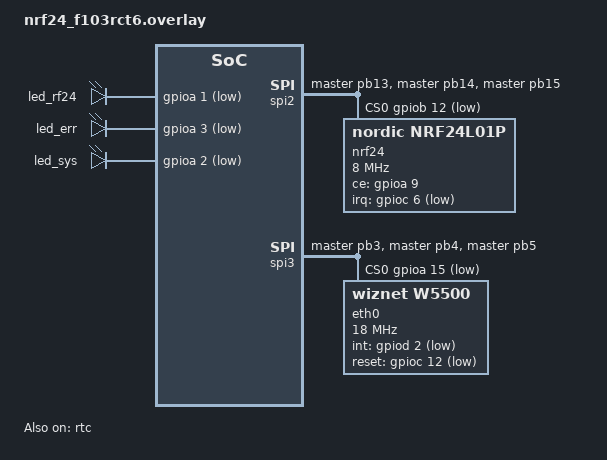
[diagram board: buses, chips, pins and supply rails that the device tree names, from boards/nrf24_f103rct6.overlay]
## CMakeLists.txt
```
# SPDX-License-Identifier: Apache-2.0

cmake_minimum_required(VERSION 3.20.0)

find_package(Zephyr REQUIRED HINTS $ENV{ZEPHYR_BASE})
project(gateway)

target_include_directories(app PRIVATE include)
target_sources(app PRIVATE
  src/main.c
  src/rf24.c
  src/rf24_shell.c
  src/net_shell.c
  src/config.c
  src/persist.c
  src/udp.c
  src/led.c
)
```

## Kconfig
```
# SPDX-License-Identifier: Apache-2.0
# Gateway application configuration

mainmenu "gateway"

source "Kconfig.zephyr"

config GATEWAY_RF24_RX_STACK
	int "RF24 RX thread stack size"
	default 1024

config GATEWAY_RF24_RX_PRIORITY
	int "RF24 RX thread priority"
	default 8

config GATEWAY_DATA_RX_STACK
	int "UDP data RX thread stack size"
	default 1024

config GATEWAY_DATA_RX_PRIORITY
	int "UDP data RX thread priority"
	default 10

config GATEWAY_UDP_INIT_PRIORITY
	int "UDP app handler init priority (must run before udp_fw_upgrade lib)"
	default 80

config GATEWAY_LED_STACK
	int "LED status thread stack size"
	default 512

config GATEWAY_LED_PRIORITY
	int "LED status thread priority (lowest, do not preempt business threads)"
	default 14
```

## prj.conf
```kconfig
CONFIG_MAIN_STACK_SIZE=2048
CONFIG_SHELL=y
CONFIG_SERIAL=y
CONFIG_GPIO=y
CONFIG_LOG=y
CONFIG_LOG_DEFAULT_LEVEL=3
CONFIG_LOG_BUFFER_SIZE=4096
CONFIG_LOG_BLOCK_IN_THREAD=y

# 软件栈溢出检测 (Cortex-M3 无 SPLIM, 板级未开 ARM_MPU, 故 HW_STACK_PROTECTION
# 无效; STACK_SENTINEL 在线程栈底埋 magic, 上下文切换/中断退出时检查,
# 踩踏 → K_ERR_STACK_CHK_FAIL → 点亮 PA2 错误灯)
CONFIG_STACK_SENTINEL=y

# SPI + nRF24L01P
CONFIG_SPI=y
CONFIG_NRF24L01P=y

# nRF24 链路层 XXTEA-CTR 加密 (用 rf24 地址作密钥; 须与 mod_handler 同时开关)
CONFIG_NRF24L01P_CRYPT=n

# SPI Flash (MCUBoot)
CONFIG_FLASH=y
CONFIG_SPI_NOR_SFDP_MINIMAL=n
CONFIG_SPI_NOR_FLASH_LAYOUT_PAGE_SIZE=4096
CONFIG_FLASH_MAP=y
CONFIG_IMG_MANAGER=y
CONFIG_STREAM_FLASH=y
CONFIG_REBOOT=y

# CRC
CONFIG_CRC=y

# UDP firmware upgrade library (self-contained: owns config port 8600)
CONFIG_UDP_FW_UPGRADE=y
CONFIG_UDP_FW_RX_STACK_SIZE=1536

# Settings persistent storage
CONFIG_SETTINGS=y
CONFIG_SETTINGS_RUNTIME=y
CONFIG_FCB=y

# Networking
CONFIG_NETWORKING=y
CONFIG_NET_IPV4=y
CONFIG_NET_UDP=y
CONFIG_NET_SOCKETS=y
CONFIG_POSIX_API=y
CONFIG_NET_L2_ETHERNET=y
CONFIG_NET_ARP=y
CONFIG_NET_MGMT=y         /* 网络管理子系统; NET_MGMT_EVENT depends on 它 (非 select, 必须显式开) */
CONFIG_NET_MGMT_EVENT=y   /* 网络事件回调 (NET_EVENT_IF_UP 等) */
CONFIG_NET_DHCPV4=y       /* DHCP 客户端 (静态/DHCP 模式切换) */
# 网络缓冲精简: gateway 仅 2 个 UDP socket (config 8600 + data 9600), 载荷小
# (nRF24 帧 ≤60B; 固件升级单包 512B). Ethernet 默认值 (14/14/36/36) 面向高吞吐
# 多连接, 对本应用严重过量, 精简以节省约 9KB RAM.
CONFIG_NET_PKT_RX_COUNT=4
CONFIG_NET_PKT_TX_COUNT=4
CONFIG_NET_BUF_RX_COUNT=8
CONFIG_NET_BUF_TX_COUNT=8
# 固件升级 512B 包需 4 个 buf, 8 个够; DATA_SIZE 保持默认 128
CONFIG_NET_BUF_DATA_SIZE=128
# 2 socket + DHCP 占 1, 4 足够
CONFIG_NET_MAX_CONN=4
CONFIG_TEST_RANDOM_GENERATOR=y

# hwinfo: 读 STM32 96-bit UID 派生 W5500 唯一 MAC (HWINFO_STM32 默认随 SOC 自动启用)
CONFIG_HWINFO=y
# 启用 ethernet net_mgmt (运行时 SET_MAC_ADDRESS 覆盖设备树 MAC)
CONFIG_NET_L2_ETHERNET_MGMT=y
# 关闭 ethernet 接口自动 up: net_if_post_init 不会自动拉起接口, 使 main 在
# net_if_up 之前处于 admin down, SET_MAC_ADDRESS 才能成功 (否则返回 -EACCES).
# 之后由 main 的 net_init() 手动 net_if_up.
CONFIG_ETH_NET_IF_NO_AUTO_START=y
```

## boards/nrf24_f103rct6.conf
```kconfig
# Gateway board config for nrf24_f103rct6
#
# 此文件不可删除: Zephyr kconfig 阶段要求 app-local board 配置文件与
# boards/nrf24_f103rct6.overlay 配对存在 (内容可为空, 此处仅注释)。
# 网络/RF24 等配置由 Kconfig (CONFIG_GW_NETWORKING) 与 snippet (gateway_eth) 管理。
```

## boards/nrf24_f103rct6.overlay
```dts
/*
 * Gateway board overlay for nrf24_f103rct6
 *
 * 硬件: nRF24L01+ (SPI2) <-> W5500 以太网 (SPI3)
 * nRF24 收到的数据通过 W5500 UDP 转发给上位机。
 */

/ {
	chosen {
		zephyr,ethernet = &eth0;
		zephyr,settings-partition = &cfg_partition;
	};

	aliases {
		led-rf24 = &led_rf24;   /* PA1: 2.4G 状态灯 (低电平亮) */
		led-err  = &led_err;    /* PA3: 错误灯 (低电平亮) */
		led-sys  = &led_sys;    /* PA2: 系统灯 (低电平亮) */
	};

	gpio_leds: leds {
		compatible = "gpio-leds";
		led_rf24: led-rf24 {
			gpios = <&gpioa 1 GPIO_ACTIVE_LOW>;
		};
		led_err: led-err {
			gpios = <&gpioa 3 GPIO_ACTIVE_LOW>;
		};
		led_sys: led-sys {
			gpios = <&gpioa 2 GPIO_ACTIVE_LOW>;
		};
	};
};

/* ================================================================
 * SPI2: nRF24L01P (SCK=PB13, MISO=PB14, MOSI=PB15, CS=PB12)
 * CE=PA9, IRQ=PC6
 * ================================================================ */
&spi2 {
	pinctrl-0 = <&spi2_sck_master_pb13
		     &spi2_miso_master_pb14
		     &spi2_mosi_master_pb15>;
	pinctrl-names = "default";
	cs-gpios = <&gpiob 12 GPIO_ACTIVE_LOW>;    /* nRF24 CS */
	status = "okay";

	nrf24: nrf24l01p@0 {
		compatible = "nordic,nrf24l01p";
		reg = <0x0>;
		spi-max-frequency = <8000000>;
		ce-gpios = <&gpioa 9 GPIO_ACTIVE_HIGH>;
		irq-gpios = <&gpioc 6 GPIO_ACTIVE_LOW>;
		channel = <1>;
		data-rate = "1m";
		tx-power = "0dbm";
		/* 半双工冲突优化: 缩短单次 TX 最坏占用 (ARD×ARC), 让冲突后更快切回
		 * PRX 给对端 ACK 机会. ARD=1500us + ARC=9 → 最坏 ~13.5ms (默认 4ms×15=60ms). */
		ard-us = <1500>;
		arc = <9>;
	};
};

&pinctrl {
	swj-cfg = "jtag-disable";
};
/* ================================================================
 * SPI3: W5500 以太网 (SCK=PB3, MISO=PB4, MOSI=PB5, CS=PA15)
 * INT=PD2, RST=PC12
 * 注: PB3/PB4/PA15 是 JTAG 引脚, Zephyr pinctrl 使用 SPI3_REMAP0 时
 *     自动设置 AFIO_MAPR_SWJ_CFG 释放 JTAG (保留 SWD)。
 * ================================================================ */
&spi3 {
	pinctrl-0 = <&spi3_sck_master_pb3
		     &spi3_miso_master_pb4
		     &spi3_mosi_master_pb5>;
	pinctrl-names = "default";
	cs-gpios = <&gpioa 15 GPIO_ACTIVE_LOW>;    /* W5500 CS */
	status = "okay";

	eth0: w5500@0 {
		compatible = "wiznet,w5500";
		reg = <0x0>;
		spi-max-frequency = <18000000>;
		int-gpios = <&gpiod 2 GPIO_ACTIVE_LOW>;
		reset-gpios = <&gpioc 12 GPIO_ACTIVE_LOW>;
		local-mac-address = [00 08 DC 01 02 03];
		status = "okay";
	};
};

/* ================================================================
 * RTC
 * ================================================================ */
&rtc {
	clocks = <&rcc STM32_CLOCK_BUS_APB1 0x10000000>,
		 <&rcc STM32_SRC_LSI RTC_SEL(2)>;
	status = "okay";
};
```

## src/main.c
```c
/*
 * Copyright (c) 2026 Kabirz.
 * SPDX-License-Identifier: Apache-2.0
 *
 * Gateway 主入口 - 数据中转网关
 * 接收 mod_handler 的 nRF24 数据，通过 W5500 UDP 转发给上位机
 */

#include <string.h>
#include <zephyr/kernel.h>
#include <zephyr/device.h>
#include <zephyr/settings/settings.h>
#include <gateway.h>
#include <zephyr/app_version.h>
#include <fw_gitver.h>
#include <zephyr/net/net_if.h>
#include <zephyr/net/socket.h>
#include <zephyr/net/net_mgmt.h>
#include <zephyr/net/net_event.h>
#include <zephyr/net/ethernet.h>
#include <zephyr/net/ethernet_mgmt.h>
#include <zephyr/net/dhcpv4.h>
#include <zephyr/drivers/hwinfo.h>
#ifndef CONFIG_FLASH_SIZE
#define CONFIG_FLASH_SIZE 0x1000
#endif

#include <zephyr/logging/log.h>
LOG_MODULE_REGISTER(gateway, LOG_LEVEL_INF);

gateway_params_t gw_params;

/* ================================================================
 * 网络链路就绪事件
 * ================================================================
 * W5500 驱动在 PHY 检测到载波 (PHYCFGR.LNK) 后调 net_eth_carrier_on →
 * net_if_carrier_on (置 NET_IF_LOWER_UP) → update_operational_state: 接口
 * admin up 且 carrier ok 时 oper state → UP → notify_iface_up 发出
 * NET_EVENT_IF_UP. 此处用信号量捕获该事件, 替代原先固定 k_msleep(500) 的盲
 * 等待 (PHY 自动协商耗时不定, 网线未插时延时更毫无意义).
 * ================================================================ */
static K_SEM_DEFINE(net_link_sem, 0, 1);

/* 网络链路状态: IF_UP 置 true, IF_DOWN 置 false. gw_udp_send 据此决定是否转发. */
volatile bool gw_net_link_up;

/* 网络事件回调 (静态注册, 编译时进 section, 不受运行时注册时序影响).
 * 注意: Zephyr net_mgmt 的 mask 匹配按 layer 精确相等, 不同 layer 的事件
 * (IF_UP=L2, IPV4_ADDR_ADD=L3) 不能 OR 在同一个 mask 里, 否则全部匹配失败.
 * 故分成两个独立 handler 注册. IF_UP/IF_DOWN 同 layer 可共用一个. */

/* IF_UP/IF_DOWN: carrier 状态变化 → 唤醒 main + 启动 DHCP + 维护 gw_net_link_up. */
static void net_if_event_handler(uint64_t mgmt_event, struct net_if *iface,
				 void *info, size_t info_length, void *user_data)
{
	ARG_UNUSED(info);
	ARG_UNUSED(info_length);
	ARG_UNUSED(user_data);

	if (mgmt_event == NET_EVENT_IF_UP) {
		LOG_INF("net link up");
		gw_net_link_up = true;
		k_sem_give(&net_link_sem);
		/* DHCP 模式: carrier up 后才启动 DHCP 客户端 (启动早了 Discover 发不出) */
		if (gw_params.use_dhcp) {
			LOG_INF("Starting DHCPv4 client...");
			net_dhcpv4_start(iface);
		}
	} else if (mgmt_event == NET_EVENT_IF_DOWN) {
		LOG_WRN("net link down");
		gw_net_link_up = false;
	}
}

/* ADDR_ADD: IPv4 地址分配完成 → 打印 IP/掩码/网关 (DHCP 模式额外打印租期). */
static void net_ipv4_event_handler(uint64_t mgmt_event, struct net_if *iface,
				   void *info, size_t info_length, void *user_data)
{
	ARG_UNUSED(info);
	ARG_UNUSED(info_length);
	ARG_UNUSED(user_data);

	if (mgmt_event != NET_EVENT_IPV4_ADDR_ADD) {
		return;
	}
	for (int i = 0; i < NET_IF_MAX_IPV4_ADDR; i++) {
		if (iface->config.ip.ipv4->unicast[i].ipv4.addr_type !=
		    NET_ADDR_DHCP && iface->config.ip.ipv4->unicast[i].ipv4.addr_type !=
		    NET_ADDR_MANUAL) {
			continue;
		}
		char buf[NET_IPV4_ADDR_LEN];

		net_addr_ntop(AF_INET,
			      &iface->config.ip.ipv4->unicast[i].ipv4.address.in_addr,
			      buf, sizeof(buf));
		LOG_INF("IPv4 address: %s", buf);
		net_addr_ntop(AF_INET, &iface->config.ip.ipv4->unicast[i].netmask,
			      buf, sizeof(buf));
		LOG_INF("IPv4 netmask: %s", buf);
		net_addr_ntop(AF_INET, &iface->config.ip.ipv4->gw, buf, sizeof(buf));
		LOG_INF("IPv4 gateway: %s", buf);
		if (iface->config.ip.ipv4->unicast[i].ipv4.addr_type == NET_ADDR_DHCP) {
			LOG_INF("DHCP lease time: %u seconds", iface->config.dhcpv4.lease_time);
		}
		break;
	}
}

NET_MGMT_REGISTER_EVENT_HANDLER(net_if_handler_cb,
				NET_EVENT_IF_UP | NET_EVENT_IF_DOWN,
				net_if_event_handler, NULL);
NET_MGMT_REGISTER_EVENT_HANDLER(net_ipv4_handler_cb, NET_EVENT_IPV4_ADDR_ADD,
				net_ipv4_event_handler, NULL);

/* ================================================================
 * MAC 派生: 用 STM32 96-bit UID 生成唯一 MAC, 覆盖设备树默认值
 * ================================================================
 * 设备树 local-mac-address 是固定值 (00:08:DC:01:02:03), 同型号多块板会冲突.
 * 这里前 3B 沿用 Wiznet OUI (00:08:DC), 末 3B 由 hwinfo 读出的 12B UID 折叠
 * 而来, 保证每块板有不同 MAC. SET_MAC_ADDRESS 要求接口 admin down (在 net_if_up
 * 前调用), 同时会更新 W5500 SHAR 寄存器 + net_if link_addr.
 */
static void derive_mac_from_uid(uint8_t *mac)
{
	static const uint8_t oui[3] = { 0x00, 0x08, 0xDC };
	uint8_t uid[12];
	ssize_t n = hwinfo_get_device_id(uid, sizeof(uid));

	mac[0] = oui[0];
	mac[1] = oui[1];
	mac[2] = oui[2];

	if (n >= (ssize_t)sizeof(uid)) {
		/* 12B UID 折叠成 3B: 每 4B 异或到 1B, 充分利用全部熵 */
		mac[3] = uid[0] ^ uid[3] ^ uid[6] ^ uid[9];
		mac[4] = uid[1] ^ uid[4] ^ uid[7] ^ uid[10];
		mac[5] = uid[2] ^ uid[5] ^ uid[8] ^ uid[11];
	} else {
		/* 取不到 UID: 回退设备树默认后缀, 至少能与 OUI 拼成合法 MAC */
		mac[3] = 0x01;
		mac[4] = 0x02;
		mac[5] = 0x03;
	}
}

/* ================================================================
 * 网络初始化 (静态 IP / DHCP)
 * ================================================================ */
static int net_init(void)
{
	struct net_if *iface = net_if_get_default();

	if (!iface) {
		LOG_ERR("No network interface found");
		return -ENODEV;
	}

	/* 用 UID 派生唯一 MAC 覆盖设备树默认值. 接口自动 up 已通过
	 * CONFIG_ETH_NET_IF_NO_AUTO_START 关闭 (net_if_post_init 不会自动 up ethernet
	 * 接口), 故此时接口处于 admin down, SET_MAC_ADDRESS 可直接成功. 之后 net_if_up
	 * 手动拉起. 失败则沿用设备树 MAC. */
	uint8_t mac[NET_ETH_ADDR_LEN];
	struct ethernet_req_params params;

	derive_mac_from_uid(mac);
	memcpy(params.mac_address.addr, mac, NET_ETH_ADDR_LEN);
	if (net_mgmt(NET_REQUEST_ETHERNET_SET_MAC_ADDRESS, iface,
		     &params, sizeof(params)) != 0) {
		LOG_WRN("set MAC from UID failed, using DT default");
	} else {
		LOG_INF("MAC (from UID): %02x:%02x:%02x:%02x:%02x:%02x",
			mac[0], mac[1], mac[2], mac[3], mac[4], mac[5]);
	}

	/* 事件回调已静态注册 (NET_MGMT_REGISTER_EVENT_HANDLER). */
	if (gw_params.use_dhcp) {
		/* DHCP 模式: 只 up 接口, DHCP 客户端在 IF_UP 回调里启动
		 * (carrier 就绪后再启动, 否则 Discover 发不出) */
		LOG_INF("DHCP mode, waiting for link up...");
		net_if_up(iface);
	} else {
		/* 静态模式: 掩码固定 /24; 网关 = IP 末段改 1 (a.b.c.1), 不存储 */
		struct in_addr addr, mask, gw;

		if (net_addr_pton(AF_INET, gw_params.ip_addr, &addr) < 0) {
			LOG_ERR("Invalid IP address: %s", gw_params.ip_addr);
			return -EINVAL;
		}
		mask.s_addr = htonl(0xFFFFFF00);
		memcpy(&gw, &addr, sizeof(gw));
		((uint8_t *)&gw.s_addr)[3] = 1;

		net_if_ipv4_addr_add(iface, &addr, NET_ADDR_MANUAL, 0);
		net_if_ipv4_set_netmask_by_addr(iface, &addr, &mask);
		net_if_ipv4_set_gw(iface, &gw);

		/* 触发接口 administrative up: 幂等. oper state 由 (admin up + carrier) 决定,
		 * 是 NET_EVENT_IF_UP 的可靠触发点. */
		net_if_up(iface);

		char gw_str[NET_IPV4_ADDR_LEN];
		net_addr_ntop(AF_INET, &gw, gw_str, sizeof(gw_str));
		LOG_INF("Network: %s/24 gw %s", gw_params.ip_addr, gw_str);
	}
	return 0;
}

int main(void)
{
	LOG_INF("build time: %s-%s", __DATE__, __TIME__);
	LOG_INF("board: %s, system clk: %dMHz", CONFIG_BOARD_TARGET,
		CONFIG_SYS_CLOCK_HW_CYCLES_PER_SEC / MHZ(1));
	LOG_INF("flash size: %dKB, ram size: %dKB", CONFIG_FLASH_SIZE, CONFIG_SRAM_SIZE);
	LOG_INF("version: v%d.%d.%d_%s", APP_VERSION_MAJOR, APP_VERSION_MINOR,
		APP_PATCHLEVEL, FW_GIT_VERSION);

	/* 初始化默认配置 */
	memset(gw_params.rf24_addr, 0, RF24_ADDR_LEN);
	strncpy(gw_params.ip_addr, GATEWAY_DEFAULT_IP, sizeof(gw_params.ip_addr) - 1);
	gw_params.data_port = GATEWAY_DATA_PORT_DEFAULT;
	gw_params.use_dhcp = GW_USE_DHCP_DEFAULT;
	strncpy(gw_params.host_ip, GATEWAY_HOST_DEFAULT_IP, sizeof(gw_params.host_ip) - 1);
	gw_params.host_port = GATEWAY_HOST_PORT_DEFAULT;
	gw_params.log = false;   /* nRF24 详细日志默认关 (shell: rf24 log 1 开启) */

	/* 加载持久化配置 (覆盖默认值) */
	gw_config_load();

	/* 初始化状态灯 (PA1 rf24 常亮收发闪, PA2 sys 灭, PA3 err 灭) */
	gw_led_init();

	/* 初始化各模块 */
	gw_rf24_init();

	net_init();

	/* 等待 PHY 链路 up: 若 net_init() 注册回调时链路已 up (oper state 已 UP)
	 * 则直接跳过; 否则等 NET_EVENT_IF_UP 信号量. 带超时兜底, 避免网线未插时
	 * 永久阻塞 (UDP 收发线程独立运行, 链路恢复后自然恢复转发). */
	struct net_if *iface = net_if_get_default();

	if (iface != NULL && net_if_oper_state(iface) != NET_IF_OPER_UP) {
		if (k_sem_take(&net_link_sem, K_SECONDS(5)) != 0) {
			LOG_WRN("net link up timeout, continue anyway");
		}
	}

	gw_params.running = true;
	LOG_INF("Gateway ready");

	/* 点亮系统灯 PA2 - 标志进入主循环 (系统就绪) */
	gw_led_sys_on();

	while (1) {
		k_sleep(K_MSEC(1000));
	}

	return 0;
}
```

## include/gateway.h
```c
/*
 * Copyright (c) 2026 Kabirz.
 * SPDX-License-Identifier: Apache-2.0
 *
 * Gateway application common definitions
 */

#ifndef __GATEWAY_H__
#define __GATEWAY_H__

#include <zephyr/kernel.h>
#include <zephyr/net/net_ip.h>
#include <stdbool.h>
#include <stdint.h>

/* ================================================================
 * RF24 地址配置 (信道固定为 1, 不可配)
 * ================================================================ */
#define RF24_ADDR_LEN    5
#define RF24_FIXED_CH    1

/* ================================================================
 * 帧 ID (与 mod_handler 保持一致; nRF24/UDP 帧协议的逻辑标识符,
 * 复用历史 CAN 11-bit 编号, 已与 CAN 总线无关)
 * ================================================================ */
enum can_ids {
	COBID_HEATBEAT = 0x763,
	TEST_FRAME = 0x777,
	HANDLER_STATE = 0x1E3,
	OVERBREAK_LASER = 0x263,
	COORD_XY = 0x363,
	COORD_Z = 0x463,
};

/* UDP 配置命令 (走配置端口 8600, 由 udp_fw_upgrade 库 RX 线程分发到 app_cmd_handler).
 * 0x01-0x05 由库内部处理 (FW_START/DATA/END/GET_VERSION/REBOOT), 不会到达此处.
 * 静态模式下掩码固定 255.255.255.0, 网关 = IP 末段改 1 (a.b.c.1), 均不在帧中传输.
 * DHCP 模式下 IP/掩码/网关由 DHCP 服务器分配, DISCOVER 回复 live interface 地址. */
enum udp_cmd {
	UDP_CMD_SET_IP  = 0x10,   /* [ip 4B] → 回 [1B: 1=成功/0=失败] (持久化, 重启生效) */
	UDP_CMD_GET_NET = 0x11,   /* (空) → [data_port 2B][host_ip 4B][host_port 2B] = 8B */
	UDP_CMD_SET_RF24 = 0x12,   /* [addr 5B] → 回显 5B (信道固定为 1, 不在帧中) */
	UDP_CMD_GET_RF24 = 0x13,   /* (空) → [addr 5B] = 5B */
	UDP_CMD_SET_HOST = 0x14,   /* [host ip 4B][port 2B BE] = 6B → 回显同序 6B (持久化) */
	UDP_CMD_DISCOVER = 0x15,  /* (空) → [ip 4B][config_port 2B] = 6B (广播发现) */
};

/* ================================================================
 * 网络默认配置
 * 静态模式: 掩码固定 255.255.255.0, 网关 = IP 末段改 1 (运行时派生, 不存储)
 * DHCP 模式: IP/掩码/网关由 DHCP 服务器分配
 * ================================================================ */
#define GATEWAY_DEFAULT_IP       "192.168.11.100"
#define GATEWAY_DATA_PORT_DEFAULT 9600  /* 数据端口 (本机监听, nRF24↔上位机透传) */
#define GW_USE_DHCP_DEFAULT      0     /* 默认静态 IP (0=静态, 1=DHCP) */
#define GATEWAY_HOST_DEFAULT_IP  "192.168.11.150"  /* 上位机 IP (nRF24 数据转发目标, 可配) */
#define GATEWAY_HOST_PORT_DEFAULT 9602  /* 上位机接收端口 (nRF24 数据转发目标端口, 可配) */

/* ================================================================
 * 全局状态
 * ================================================================ */
typedef struct {
	/* RF24 配置 (信道固定 RF24_FIXED_CH=1, 不存储; 仅地址可配) */
	uint8_t rf24_addr[RF24_ADDR_LEN];

	/* 网络配置 (静态模式下掩码固定 /24, 网关由 IP 派生, 均不存储;
	 *           DHCP 模式下 IP/掩码/网关由 DHCP 分配) */
	char ip_addr[16];     /* 静态 IP (DHCP 模式下仅作 fallback) */
	uint16_t data_port;   /* 数据端口 (可配, 默认 GATEWAY_DATA_PORT_DEFAULT) */
	uint8_t use_dhcp;     /* 0=静态 IP, 1=DHCP (持久化, 重启生效) */

	/* 上位机 (HOST) 目标配置: nRF24 数据固定转发到 host_ip:host_port
	 * (可配, 默认 GATEWAY_HOST_DEFAULT_IP:GATEWAY_HOST_PORT_DEFAULT, 持久化) */
	char host_ip[16];
	uint16_t host_port;

	/* 运行状态 */
	volatile bool running;
	bool log;             /* nRF24 收发详细日志开关 (shell: rf24 log [0/1]) */
	struct k_event event;
} gateway_params_t;

extern gateway_params_t gw_params;

/* 网络链路状态 (main.c 的 NET_EVENT_IF_UP/DOWN 回调维护).
 * gw_udp_send 据此决定是否转发 nRF24 数据到上位机. */
extern volatile bool gw_net_link_up;

/* ================================================================
 * 接口声明
 * ================================================================ */

/* led.c */
void gw_led_init(void);            /* 初始化三路 LED: PA1 rf24常亮收发闪, PA2/PA3灭 */
void gw_led_sys_on(void);          /* 点亮系统灯 PA2 */
void gw_led_error_on(void);        /* 点亮错误灯 PA3 (锁定, 不可灭) */
void gw_led_rf24_activity(void);   /* 标记 2.4G 收发活动 (启动固定频率闪烁) */

/* rf24.c */
void gw_rf24_init(void);
void gw_rf24_set_config(const uint8_t *addr);
bool gw_rf24_send(uint16_t can_id, const uint8_t *data, size_t len);

/**
 * @brief 测试帧 (TEST_FRAME 0x777) 接收回调 (rf24_shell.c 实现)
 */
void rf24_test_handle_rx(const uint8_t *data, uint8_t len);

/* udp.c */
void gw_udp_send(const uint8_t *data, size_t len);

/* 取本机 live IPv4 地址 (DHCP 分配或静态配置的当前地址), 失败返回 NULL.
 * DHCP 模式下 gw_params.ip_addr 是旧静态值, 需从 live interface 读. */
struct in_addr *gw_get_live_ipv4(void);

/* config.c */
void gw_config_save(void);
void gw_config_load(void);

/* persist.c */
void persist_save_rf24_config(void);
void persist_save_network_config(void);

#endif /* __GATEWAY_H__ */
```

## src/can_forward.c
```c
/*
 * Copyright (c) 2026 Kabirz.
 * SPDX-License-Identifier: Apache-2.0
 *
 * CAN 转发模块 - CAN 总线与 nRF24/UDP 之间的数据中转
 * CAN 接收与固件升级由 can_fw_upgrade 库自包含管理;
 * 本模块仅注册业务帧 callback 并提供业务帧发送。
 */

#include <string.h>
#ifdef CONFIG_GW_NETWORKING
#include <arpa/inet.h>
#endif
#include <zephyr/kernel.h>
#include <zephyr/device.h>
#include <zephyr/drivers/can.h>
#include <zephyr/sys/byteorder.h>
#include <zephyr/logging/log.h>
#include <can_fw_upgrade.h>
#include <gateway.h>

LOG_MODULE_REGISTER(gw_can, LOG_LEVEL_INF);

const struct device *can_dev;	/* 由 gw_can_init() 从 can_fw_set_app_handler() 获取 */

/* ================================================================
 * CAN 发送 (业务帧响应)
 * ================================================================ */
static void can_tx_callback(const struct device *dev, int error, void *user_data)
{
	if (error) {
		LOG_ERR("CAN tx error: %d", error);
	}
}

int gw_can_send(uint16_t id, const uint8_t *data, uint8_t len)
{
	if (!can_dev) {
		return -ENODEV;
	}

	struct can_frame frame = {
		.id = id,
		.dlc = can_bytes_to_dlc(len),
	};

	if (len > 0 && len <= 8) {
		memcpy(frame.data, data, len);
	}

	return can_send(can_dev, &frame, K_MSEC(100), can_tx_callback, NULL);
}

#ifdef CONFIG_GW_NETWORKING
/* ================================================================
 * 网络配置命令处理 (0x106)
 * ================================================================ */

/* 从 CAN 帧 4 字节 (src[0..3]) 设置 IPv4 字符串字段并持久化 */
static void net_set_ipv4(char *dst, size_t dstlen, const uint8_t *src, const char *label)
{
	struct in_addr a = { .s4_addr = {src[0], src[1], src[2], src[3]} };

	inet_ntop(AF_INET, &a, dst, dstlen);
	LOG_INF("CAN set %s: %s", label, dst);
	persist_save_network_config();
}

/* 回复一帧 NET_CONFIG_RESP: [cmd 1B][ipv4 4B][reserved 3B] */
static void net_send_ipv4_resp(uint8_t cmd, const char *src_str)
{
	uint8_t buf[8] = {0};
	struct in_addr a;

	buf[0] = cmd;
	if (inet_pton(AF_INET, src_str, &a) == 1) {
		memcpy(&buf[1], a.s4_addr, 4);
	}
	gw_can_send(NET_CONFIG_RESP, buf, 8);
}

static void handle_net_config(struct can_frame *frame)
{
	uint8_t cmd = frame->data[0];

	switch (cmd) {
	case NET_CMD_SET_IP:
		net_set_ipv4(gw_params.ip_addr, sizeof(gw_params.ip_addr), &frame->data[1], "IP");
		break;
	case NET_CMD_SET_MASK:
		net_set_ipv4(gw_params.netmask, sizeof(gw_params.netmask), &frame->data[1], "mask");
		break;
	case NET_CMD_SET_GW:
		net_set_ipv4(gw_params.gateway, sizeof(gw_params.gateway), &frame->data[1], "gw");
		break;
	case NET_CMD_SET_PORT:
		gw_params.udp_port = sys_get_be16(&frame->data[1]);
		LOG_INF("CAN set port: %d", gw_params.udp_port);
		persist_save_network_config();
		break;
	case NET_CMD_SET_MODE:
		if (frame->data[1] == GW_MODE_CAN || frame->data[1] == GW_MODE_UDP) {
			gw_params.connect_type = frame->data[1];
			LOG_INF("CAN set mode: %s", gw_params.connect_type == GW_MODE_CAN ? "CAN" : "UDP");
			persist_save_network_config();
		}
		break;
	case NET_CMD_GET_CONFIG:
		break;
	default:
		LOG_WRN("CAN net config: unknown cmd 0x%02x", cmd);
		return;
	}

	/* 回复当前配置三帧: [ip] [mask+port] [gw] */
	net_send_ipv4_resp(cmd, gw_params.ip_addr);

	uint8_t buf[8] = {0};
	struct in_addr m;

	if (inet_pton(AF_INET, gw_params.netmask, &m) == 1) {
		memcpy(&buf[1], m.s4_addr, 4);
	}
	sys_put_be16(gw_params.udp_port, &buf[5]);
	gw_can_send(NET_CONFIG_RESP, buf, 8);

	net_send_ipv4_resp(0, gw_params.gateway);
}
#endif /* CONFIG_GW_NETWORKING */

/* ================================================================
 * 业务帧 handler (注入 can_fw_upgrade 库)
 * 库 RX 线程收到非固件升级帧时调用。
 * ================================================================ */
static bool gw_can_app_rx(struct can_frame *frame, void *user_data)
{
	ARG_UNUSED(user_data);

	switch (frame->id) {
	case OVERBREAK_LASER:
	case COORD_XY:
	case COORD_Z:
		/* 上位机通过 CAN 发送的扫描仪数据, 转发到 nRF24 给 mod_handler */
		gw_rf24_send(frame->id, frame->data, can_dlc_to_bytes(frame->dlc));
		LOG_DBG("CAN->nRF24: id=0x%03x dlc=%d", frame->id, frame->dlc);
		return true;

	case RF24_CONFIG_CMD: {
		/* 本地 nRF24 配置命令 */
		uint8_t cmd = frame->data[0];

		if (cmd == RF24_CMD_SET_CHANNEL && frame->dlc >= 2) {
			gw_params.rf24_channel = frame->data[1];
			persist_save_rf24_config();
			gw_rf24_set_config(gw_params.rf24_channel, gw_params.rf24_addr);
		} else if (cmd == RF24_CMD_SET_ADDR && frame->dlc >= 7) {
			memcpy(gw_params.rf24_addr, &frame->data[1], RF24_ADDR_LEN);
			persist_save_rf24_config();
			gw_rf24_set_config(gw_params.rf24_channel, gw_params.rf24_addr);
		}
		/* 回复当前配置 */
		uint8_t buf[8] = {0};

		buf[0] = cmd;
		buf[1] = gw_params.rf24_channel;
		memcpy(&buf[2], gw_params.rf24_addr, RF24_ADDR_LEN);
		gw_can_send(RF24_CONFIG_RESP, buf, 8);
		return true;
	}

#ifdef CONFIG_GW_NETWORKING
	case NET_CONFIG_CMD:
		/* 网络配置命令 */
		handle_net_config(frame);
		return true;
#endif

	default:
		return false;
	}
}

static int gw_can_init(void)
{
	can_dev = can_fw_set_app_handler(gw_can_app_rx, NULL);
	LOG_INF("CAN forward ready");
	return 0;
}
SYS_INIT(gw_can_init, APPLICATION, 10);
```

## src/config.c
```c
/*
 * Copyright (c) 2026 Kabirz.
 * SPDX-License-Identifier: Apache-2.0
 *
 * 配置管理 - 读取/保存网关配置
 */

#include <zephyr/logging/log.h>
#include <zephyr/settings/settings.h>
#include <gateway.h>

LOG_MODULE_REGISTER(gw_config, LOG_LEVEL_INF);

void gw_config_load(void)
{
	settings_load();
	LOG_INF("Config loaded");
}

void gw_config_save(void)
{
	persist_save_rf24_config();
	persist_save_network_config();
}
```

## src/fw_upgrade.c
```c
/*
 * Copyright (c) 2026 Kabirz.
 * SPDX-License-Identifier: Apache-2.0
 *
 * CAN 固件升级模块 - 与 mod_handler 协议完全一致
 * CAN ID: PLATFORM_RX(0x101), PLATFORM_TX(0x102), FW_DATA_RX(0x103)
 * 字节序: 本机字节序 (ARM Cortex-M 小端), 使用 data_32 直接访问
 */

#include <string.h>
#include <zephyr/kernel.h>
#include <zephyr/drivers/can.h>
#include <zephyr/drivers/flash.h>
#include <zephyr/storage/flash_map.h>
#include <zephyr/logging/log.h>
#include <zephyr/dfu/flash_img.h>
#include <zephyr/dfu/mcuboot.h>
#include <zephyr/sys/reboot.h>
#include <gateway.h>

LOG_MODULE_REGISTER(gw_fw, LOG_LEVEL_INF);

extern const struct device *can_dev;

/* 固件升级命令/响应码 - 与 mod_handler 一致 */
enum fw_error_code {
	FW_CODE_OFFSET,
	FW_CODE_UPDATE_SUCCESS,
	FW_CODE_VERSION,
	FW_CODE_CONFIRM,
	FW_CODE_FLASH_ERROR,
	FW_CODE_TRANFER_ERROR,
};

enum board_option {
	BOARD_START_UPDATE,
	BOARD_CONFIRM,
	BOARD_VERSION,
	BOARD_REBOOT,
};

#define SLOT1_PARTITION_ID PARTITION_ID(slot1_partition)

/* ================================================================
 * CAN 固件响应 - 使用 data_32 本机字节序, 与 mod_handler 一致
 * ================================================================ */
static void fw_can_reply(uint32_t code, uint32_t offset)
{
	struct can_frame frame = {
		.id = PLATFORM_TX,
		.data_32 = {code, offset},
		.dlc = can_bytes_to_dlc(8),
	};

	can_send(can_dev, &frame, K_MSEC(100), NULL, NULL);
}

/* ================================================================
 * 固件升级处理 - 与 mod_handler 协议完全一致
 * ================================================================ */
static struct flash_img_context flash_img_ctx;
static bool fw_img_initialized = false;

int fw_update(struct can_frame *frame)
{
	uint32_t size = can_dlc_to_bytes(frame->dlc);

	if (frame->id == PLATFORM_RX) {
		/* 使用 data_32 直接访问, 与 mod_handler 一致 */
		if (frame->data_32[0] == BOARD_START_UPDATE) {
			/* 开始升级: [cmd 4B][total_size 4B] */
			if (size != 8) {
				LOG_ERR("start update: invalid size %d", size);
				fw_can_reply(FW_CODE_FLASH_ERROR, 0);
				return -1;
			}

			if (!fw_img_initialized) {
				const struct flash_area *fa;

				if (flash_area_open(SLOT1_PARTITION_ID, &fa) != 0) {
					LOG_ERR("flash_area_open failed");
					fw_can_reply(FW_CODE_FLASH_ERROR, 0);
					return -1;
				}
				flash_area_erase(fa, 0, fa->fa_size);
				flash_area_close(fa);

				if (flash_img_init(&flash_img_ctx) != 0) {
					LOG_ERR("flash_img_init failed");
					fw_can_reply(FW_CODE_FLASH_ERROR, 0);
					return -1;
				}
				fw_img_initialized = true;
			}

			uint32_t total_size = frame->data_32[1];

			LOG_INF("FW upgrade start, size=%d", total_size);
			fw_can_reply(FW_CODE_OFFSET, 0);

		} else if (frame->data_32[0] == BOARD_CONFIRM) {
			/* 确认完成 */
			flash_img_buffered_write(&flash_img_ctx, NULL, 0, true);
			fw_img_initialized = false;

			if (flash_img_bytes_written(&flash_img_ctx) == 0) {
				LOG_ERR("FW upgrade failed: no data written");
				fw_can_reply(FW_CODE_TRANFER_ERROR, 0);
				return -1;
			}

			LOG_INF("FW upgrade complete, rebooting...");
			fw_can_reply(FW_CODE_CONFIRM, 0x55AA55AA);
			k_msleep(500);
			sys_reboot(SYS_REBOOT_COLD);

		} else if (frame->data_32[0] == BOARD_VERSION) {
			/* 查询版本 */
			fw_can_reply(FW_CODE_VERSION, 0x010000);

		} else if (frame->data_32[0] == BOARD_REBOOT) {
			/* 重启 */
			sys_reboot(SYS_REBOOT_WARM);
		}

	} else if (frame->id == FW_DATA_RX) {
		/* 固件数据 */
		if (!fw_img_initialized) {
			LOG_WRN("FW data before start");
			return -1;
		}

		if (flash_img_buffered_write(&flash_img_ctx, frame->data, size, false) != 0) {
			LOG_ERR("flash write failed");
			fw_can_reply(FW_CODE_FLASH_ERROR, 0);
			return -1;
		}

		/* 每 64 字节回复进度, 与 mod_handler 一致 */
		size_t written = flash_img_bytes_written(&flash_img_ctx);

		if (written % 64 == 0) {
			fw_can_reply(FW_CODE_OFFSET, written);
		}
	}

	return 0;
}
```

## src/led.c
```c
/*
 * Copyright (c) 2026 Kabirz.
 * SPDX-License-Identifier: Apache-2.0
 *
 * 三路状态灯管理
 *   PA1 (led_rf24): 2.4G 活动灯 - 平时常亮, 收发时以固定频率闪烁
 *   PA3 (led_err):  错误灯     - 开机自检闪一下 (150ms) 后熄灭; 栈溢出/hardfault/
 *                                关键硬件初始化失败点亮, 锁定不灭
 *   PA2 (led_sys):  系统灯     - 进入 main 循环前点亮
 *
 * 全部低电平亮 (GPIO_ACTIVE_LOW), 通过 DT 描述; 代码用 gpio_pin_set_dt 的逻辑电平
 * (1=亮, 0=灭), 不关心物理极性.
 */

#include <zephyr/kernel.h>
#include <zephyr/drivers/gpio.h>
#include <zephyr/logging/log.h>
#include <gateway.h>

LOG_MODULE_REGISTER(gw_led, LOG_LEVEL_INF);

/* DT alias 引用, 编译期校验引脚存在 */
static const struct gpio_dt_spec led_rf24 = GPIO_DT_SPEC_GET(DT_ALIAS(led_rf24), gpios);
static const struct gpio_dt_spec led_err  = GPIO_DT_SPEC_GET(DT_ALIAS(led_err), gpios);
static const struct gpio_dt_spec led_sys  = GPIO_DT_SPEC_GET(DT_ALIAS(led_sys), gpios);

static void led_blink_work_handler(struct k_work *work);

/* 2.4G 活动指示: 平时常亮, 收发时以固定频率闪烁 (亮/灭各半周期).
 * 用固定频率翻转而非跟随每次收发 —— 高速通信时收发间隔远小于人眼
 * 响应, 跟随式亮脉冲/灭窗都会被吞掉 (退化为常亮或常灭, 完全无感);
 * 固定 ~5Hz 翻转无论通信快慢都稳定可见. 收发停止超过超时后恢复常亮. */
#define RF24_BLINK_HALF_PERIOD_MS  100   /* 半周期: 亮100ms灭100ms → 5Hz */
#define RF24_ACTIVITY_TIMEOUT_MS   400   /* 无收发超过此值视为通信停止, 恢复常亮 */
static struct k_work_delayable led_blink_work;
static volatile uint32_t rf24_last_activity;
/* 闪烁周期是否在跑 (避免收发路径重复提交 work) */
static volatile bool blinking;

/* 错误灯锁定标志 - 一旦置位, 不再熄灭 */
static volatile bool error_latched;

/* 开机自检: 故障灯点亮 ERR_SELFTEST_MS 后熄灭 (仅指示 LED/GPIO 通路正常,
 * 不置 latch). 用 delayed work 非阻塞, 不拖慢后续初始化. */
#define ERR_SELFTEST_MS 150
static struct k_work_delayable err_selftest_work;

static void err_selftest_work_handler(struct k_work *work)
{
	ARG_UNUSED(work);

	gpio_pin_set_dt(&led_err, 0);
}

/* ================================================================
 * 初始化: PA1/PA2/PA3 配置为输出, 默认全灭; 随后点亮 PA1 (常亮=就绪),
 * 故障灯做一次开机自检闪烁 (亮 150ms 后自动熄灭).
 * ================================================================ */
void gw_led_init(void)
{
	gpio_pin_configure_dt(&led_rf24, GPIO_OUTPUT_INACTIVE);  /* 初始灭 */
	gpio_pin_configure_dt(&led_err,  GPIO_OUTPUT_INACTIVE);
	gpio_pin_configure_dt(&led_sys,  GPIO_OUTPUT_INACTIVE);

	gpio_pin_set_dt(&led_rf24, 1);   /* 平时常亮 (2.4G 就绪) */
	gpio_pin_set_dt(&led_err,  1);   /* 开机自检: 点亮故障灯 */
	gpio_pin_set_dt(&led_sys,  0);

	k_work_init_delayable(&led_blink_work, led_blink_work_handler);
	blinking = false;
	k_work_init_delayable(&err_selftest_work, err_selftest_work_handler);
	k_work_schedule(&err_selftest_work, K_MSEC(ERR_SELFTEST_MS));
}

void gw_led_sys_on(void)
{
	gpio_pin_set_dt(&led_sys, 1);
}

void gw_led_error_on(void)
{
	error_latched = true;
	gpio_pin_set_dt(&led_err, 1);
}

/* 闪烁翻转: 每半个周期翻转一次 LED.
 * 仍在活跃窗口内 → 翻转 + 排下一次; 超时 (通信停止) → 停止翻转, 置常亮. */
static void led_blink_work_handler(struct k_work *work)
{
	ARG_UNUSED(work);

	uint32_t elapsed = k_uptime_get_32() - rf24_last_activity;

	if (elapsed < RF24_ACTIVITY_TIMEOUT_MS) {
		/* 用读当前电平来翻转, 避免维护额外状态变量 */
		int cur = gpio_pin_get_dt(&led_rf24);

		gpio_pin_set_dt(&led_rf24, cur ? 0 : 1);
		k_work_reschedule(&led_blink_work, K_MSEC(RF24_BLINK_HALF_PERIOD_MS));
	} else {
		/* 通信停止: 恢复常亮, 标记闪烁周期结束 */
		gpio_pin_set_dt(&led_rf24, 1);
		blinking = false;
	}
}

void gw_led_rf24_activity(void)
{
	rf24_last_activity = k_uptime_get_32();
	/* 仅在闪烁未启动时提交, 避免收发路径重复排 work (零阻塞) */
	if (!blinking) {
		blinking = true;
		gpio_pin_set_dt(&led_rf24, 0);   /* 进入闪烁: 先灭, 开始第一个半周期 */
		k_work_reschedule(&led_blink_work, K_MSEC(RF24_BLINK_HALF_PERIOD_MS));
	}
}

/* ================================================================
 * Zephyr fatal error handler - 覆盖默认弱符号
 * CPU 异常 (hardfault 等) 时点亮错误灯锁定, 之后交还默认处理流程
 * (不做 reboot, 让系统进入 fault dump / LOG_PANIC 以便调试).
 * 注: STM32F1 (Cortex-M3) 无 MPU, 硬件栈保护不可用, K_ERR_STACK_CHK_FAIL
 *     不会触发; 但 K_ERR_CPU_EXCEPTION (hardfault) 仍会被此 handler 捕获.
 * ================================================================ */
void k_sys_fatal_error_handler(unsigned int reason, const struct arch_esf *esf)
{
	ARG_UNUSED(esf);

	if (reason == K_ERR_STACK_CHK_FAIL || reason == K_ERR_CPU_EXCEPTION) {
		/* fatal 上下文 (栈已损/ISR 中) 不调 LOG, 仅点亮错误灯这一可靠副作用.
		 * 之后交还默认 fatal 处理流程做 dump/panic. */
		gw_led_error_on();
	}
}
```

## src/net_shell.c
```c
/*
 * Copyright (c) 2026 Kabirz.
 * SPDX-License-Identifier: Apache-2.0
 *
 * UDP 网络链路测试 shell 命令 — 模拟数据源, 验证 UDP 双端口链路
 *
 *   gw info              查看网络配置 (IP/掩码固定/网关/端口)
 *   gw send <id> <hex..> 发送数据帧 [帧ID 2B BE][payload]
 *   gw ping [count=5]    发送 TEST_FRAME (0x777) 计数测试
 *   gw ip <addr>         设置 IP (并持久化)
 *   gw port <port>       设置数据端口 (并持久化)
 *
 * (从 gateway_udp_test/src/shell.c 移植, 去掉数据端口 echo 回显 — gateway 的
 *  UDP 数据端口只做 nRF24↔UDP 透传, 无回显机制)
 */

#ifdef CONFIG_SHELL

#include <zephyr/kernel.h>
#include <zephyr/device.h>
#include <zephyr/net/net_ip.h>
#include <zephyr/shell/shell.h>
#include <zephyr/logging/log.h>
#include <zephyr/sys/byteorder.h>
#include <zephyr/sys/sys_io.h>
#include <zephyr/storage/flash_map.h>
#include <stdlib.h>
#include <stdio.h>
#include <string.h>
#include <gateway.h>

LOG_MODULE_REGISTER(gw_net_shell, LOG_LEVEL_INF);

#define GW_SHELL_PAYLOAD_MAX 64

/* ================================================================
 * Shell handlers
 * ================================================================ */

static int cmd_gw_info(const struct shell *ctx, size_t argc, char **argv)
{
	ARG_UNUSED(argc);
	ARG_UNUSED(argv);

	/* 显示 live IP (DHCP 分配或静态配置的当前地址) */
	char ip_str[NET_IPV4_ADDR_LEN] = "-";
	struct in_addr *live = gw_get_live_ipv4();

	if (live) {
		net_addr_ntop(AF_INET, live, ip_str, sizeof(ip_str));
	}
	shell_print(ctx, "ip:        %s (%s)", ip_str, gw_params.use_dhcp ? "DHCP" : "static");
	if (gw_params.use_dhcp) {
		shell_print(ctx, "netmask:   (from DHCP)");
		shell_print(ctx, "gateway:   (from DHCP)");
	} else {
		/* 静态模式: 掩码固定 /24, 网关 = IP 末段改 1 (运行时派生) */
		struct in_addr gw;

		if (net_addr_pton(AF_INET, gw_params.ip_addr, &gw) == 0) {
			((uint8_t *)&gw.s_addr)[3] = 1;
			net_addr_ntop(AF_INET, &gw, ip_str, sizeof(ip_str));
		} else {
			ip_str[0] = '-';
			ip_str[1] = '\0';
		}
		shell_print(ctx, "netmask:   255.255.255.0 (fixed)");
		shell_print(ctx, "gateway:   %s (derived)", ip_str);
	}
	shell_print(ctx, "data port: %d", gw_params.data_port);
	shell_print(ctx, "cfg port:  %d", CONFIG_UDP_FW_CONFIG_PORT);
	shell_print(ctx, "running:   %s", gw_params.running ? "yes" : "no");
	return 0;
}

static int cmd_gw_send(const struct shell *ctx, size_t argc, char **argv)
{
	if (argc < 3) {
		shell_error(ctx, "usage: gw send <id_hex> <b0> [b1] ...  (payload hex bytes)");
		return -EINVAL;
	}

	long id = strtol(argv[1], NULL, 16);
	if (id < 0 || id > 0x7FF) {
		shell_error(ctx, "invalid frame id: %s (0-0x7FF)", argv[1]);
		return -EINVAL;
	}

	uint8_t buf[GW_SHELL_PAYLOAD_MAX];
	size_t off = 2;

	sys_put_be16((uint16_t)id, buf);

	for (int i = 2; i < argc && off < sizeof(buf); i++) {
		long v = strtol(argv[i], NULL, 16);

		if (v < 0 || v > 0xFF) {
			shell_error(ctx, "invalid byte: %s", argv[i]);
			return -EINVAL;
		}
		buf[off++] = (uint8_t)v;
	}

	gw_udp_send(buf, off);
	shell_print(ctx, "TX id=0x%03x len=%zu", (uint16_t)id, off);
	return 0;
}

static int cmd_gw_ping(const struct shell *ctx, size_t argc, char **argv)
{
	int count = 5;

	if (argc >= 2) {
		count = (int)strtol(argv[1], NULL, 10);
		if (count < 1) {
			count = 1;
		} else if (count > 1000) {
			count = 1000;
		}
	}

	/* TEST_FRAME (0x777) 帧格式: [0x07 0x77][seq] */
	uint8_t seq = 0;

	shell_print(ctx, "ping TEST_FRAME(0x777) x%d (loopback via peer)...", count);

	for (int i = 0; i < count; i++) {
		uint8_t buf[3];

		sys_put_be16(TEST_FRAME, buf);
		buf[2] = seq++;
		gw_udp_send(buf, sizeof(buf));
		shell_print(ctx, "  [%d] TX seq=%02x", i + 1, buf[2]);
		k_msleep(200);
	}

	shell_print(ctx, "done (check if host PC received)");
	return 0;
}

static int cmd_gw_ip(const struct shell *ctx, size_t argc, char **argv)
{
	if (argc < 2) {
		/* 显示 live IP (DHCP 模式下是服务器分配的地址) */
		struct in_addr *live = gw_get_live_ipv4();
		char ip_str[NET_IPV4_ADDR_LEN];

		if (live) {
			net_addr_ntop(AF_INET, live, ip_str, sizeof(ip_str));
			shell_print(ctx, "ip: %s (%s)", ip_str,
				    gw_params.use_dhcp ? "DHCP" : "static");
		} else {
			shell_print(ctx, "ip: (no address, stored=%s)", gw_params.ip_addr);
		}
		return 0;
	}
	if (gw_params.use_dhcp) {
		shell_error(ctx, "cannot set static IP in DHCP mode");
		return -EINVAL;
	}
	if (strlen(argv[1]) >= sizeof(gw_params.ip_addr)) {
		shell_error(ctx, "ip too long");
		return -EINVAL;
	}
	strncpy(gw_params.ip_addr, argv[1], sizeof(gw_params.ip_addr) - 1);
	gw_params.ip_addr[sizeof(gw_params.ip_addr) - 1] = '\0';
	persist_save_network_config();
	shell_print(ctx, "ip set to %s (takes effect after reboot)", gw_params.ip_addr);
	return 0;
}

static int cmd_gw_port(const struct shell *ctx, size_t argc, char **argv)
{
	if (argc < 2) {
		shell_print(ctx, "data port: %d", gw_params.data_port);
		return 0;
	}
	long p = strtol(argv[1], NULL, 10);
	if (p < 1 || p > 65535) {
		shell_error(ctx, "invalid port: %s (1-65535)", argv[1]);
		return -EINVAL;
	}
	gw_params.data_port = (uint16_t)p;
	persist_save_network_config();
	shell_print(ctx, "data port set to %d (takes effect after reboot)", gw_params.data_port);
	return 0;
}

static int cmd_gw_reset(const struct shell *ctx, size_t argc, char **argv)
{
	ARG_UNUSED(argc);
	ARG_UNUSED(argv);

	/* 擦除整个 settings 分区 (FCB 后端), 清除所有持久化配置.
	 * 擦除后 gw_params 内存值仍在, 但重启后 settings 为空, 代码用默认值重新初始化. */
	const struct flash_area *fa;
	int rc = flash_area_open(PARTITION_ID(cfg_partition), &fa);

	if (rc != 0) {
		shell_error(ctx, "open settings partition failed: %d", rc);
		return -EIO;
	}
	rc = flash_area_erase(fa, 0, fa->fa_size);
	flash_area_close(fa);
	if (rc != 0) {
		shell_error(ctx, "erase settings partition failed: %d", rc);
		return -EIO;
	}
	shell_print(ctx, "All settings cleared (rf24/ip/port/dhcp)");
	shell_print(ctx, "Reboot to apply defaults");
	return 0;
}

SHELL_STATIC_SUBCMD_SET_CREATE(
	sub_gw_cmds,
	SHELL_CMD_ARG(info, NULL, "Show network config", cmd_gw_info, 1, 0),
	SHELL_CMD_ARG(send, NULL,
		      "Send frame <id_hex> <b0> [b1] ... (payload hex bytes)",
		      cmd_gw_send, 3, 16),
	SHELL_CMD_ARG(ping, NULL, "Send TEST_FRAME (0x777) [count=5]", cmd_gw_ping, 1, 1),
	SHELL_CMD_ARG(ip, NULL, "Get/set IP <addr>", cmd_gw_ip, 1, 1),
	SHELL_CMD_ARG(port, NULL, "Get/set data port <1-65535>", cmd_gw_port, 1, 1),
	SHELL_CMD_ARG(reset, NULL, "Clear all settings (reboot to apply)", cmd_gw_reset, 1, 0),
	SHELL_SUBCMD_SET_END);

SHELL_CMD_REGISTER(gw, &sub_gw_cmds, "gateway UDP network test commands", NULL);

#endif /* CONFIG_SHELL */
```

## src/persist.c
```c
/*
 * Copyright (c) 2026 Kabirz.
 * SPDX-License-Identifier: Apache-2.0
 *
 * Settings 持久化存储 - 使用 Zephyr settings 子系统 (FCB 后端)
 */

#include <zephyr/kernel.h>
#include <zephyr/settings/settings.h>
#include <zephyr/logging/log.h>
#include <gateway.h>

LOG_MODULE_REGISTER(gw_persist, LOG_LEVEL_INF);

static int gw_persist_set(const char *name, size_t len, settings_read_cb read_cb, void *cb_arg)
{
	const char *next;
	size_t name_len = settings_name_next(name, &next);

	if (!next && !strncmp(name, "rf24_addr", name_len)) {
		if (len == RF24_ADDR_LEN) {
			read_cb(cb_arg, gw_params.rf24_addr, RF24_ADDR_LEN);
		}
		return 0;
	}

	if (!next && !strncmp(name, "ip_addr", name_len)) {
		if (len < sizeof(gw_params.ip_addr)) {
			read_cb(cb_arg, gw_params.ip_addr, len);
			gw_params.ip_addr[len] = '\0';
		}
		return 0;
	}

	if (!next && !strncmp(name, "data_port", name_len)) {
		if (len == sizeof(uint16_t)) {
			read_cb(cb_arg, &gw_params.data_port, sizeof(uint16_t));
		}
		return 0;
	}

	if (!next && !strncmp(name, "use_dhcp", name_len)) {
		if (len == sizeof(uint8_t)) {
			read_cb(cb_arg, &gw_params.use_dhcp, sizeof(uint8_t));
		}
		return 0;
	}

	if (!next && !strncmp(name, "host_ip", name_len)) {
		if (len < sizeof(gw_params.host_ip)) {
			read_cb(cb_arg, gw_params.host_ip, len);
			gw_params.host_ip[len] = '\0';
		}
		return 0;
	}

	if (!next && !strncmp(name, "host_port", name_len)) {
		if (len == sizeof(uint16_t)) {
			read_cb(cb_arg, &gw_params.host_port, sizeof(uint16_t));
		}
		return 0;
	}

	return -ENOENT;
}

static int gw_persist_export(int (*cb)(const char *name, const void *value, size_t val_len))
{
	(void)cb("gw/rf24_addr", gw_params.rf24_addr, RF24_ADDR_LEN);
	(void)cb("gw/ip_addr", gw_params.ip_addr, strlen(gw_params.ip_addr));
	(void)cb("gw/data_port", &gw_params.data_port, sizeof(gw_params.data_port));
	(void)cb("gw/use_dhcp", &gw_params.use_dhcp, sizeof(gw_params.use_dhcp));
	(void)cb("gw/host_ip", gw_params.host_ip, strlen(gw_params.host_ip));
	(void)cb("gw/host_port", &gw_params.host_port, sizeof(gw_params.host_port));
	return 0;
}

SETTINGS_STATIC_HANDLER_DEFINE(gw_persist, "gw", NULL, gw_persist_set, NULL, gw_persist_export);

static int settings_backend_init(void)
{
	int rc = settings_subsys_init();

	if (rc) {
		LOG_ERR("settings_subsys_init failed: %d", rc);
	} else {
		LOG_INF("Settings subsystem initialized");
		/* 清除旧协议残留的历史键 (掩码/网关/信道已不再持久化).
		 * 不删除的话 settings_load 回放时会打 -ENOENT 错误日志. */
		settings_delete("gw/netmask");
		settings_delete("gw/gateway");
		settings_delete("gw/rf24_channel");
	}
	return rc;
}

void persist_save_rf24_config(void)
{
	settings_save_one("gw/rf24_addr", gw_params.rf24_addr, RF24_ADDR_LEN);
	LOG_INF("Saved rf24 addr=%02x%02x%02x%02x%02x", gw_params.rf24_addr[0],
		gw_params.rf24_addr[1], gw_params.rf24_addr[2], gw_params.rf24_addr[3],
		gw_params.rf24_addr[4]);
}

void persist_save_network_config(void)
{
	settings_save_one("gw/ip_addr", gw_params.ip_addr, strlen(gw_params.ip_addr));
	settings_save_one("gw/data_port", &gw_params.data_port, sizeof(gw_params.data_port));
	settings_save_one("gw/use_dhcp", &gw_params.use_dhcp, sizeof(gw_params.use_dhcp));
	settings_save_one("gw/host_ip", gw_params.host_ip, strlen(gw_params.host_ip));
	settings_save_one("gw/host_port", &gw_params.host_port, sizeof(gw_params.host_port));
	LOG_INF("Saved network: ip=%s port=%d dhcp=%d host=%s:%d", gw_params.ip_addr,
		gw_params.data_port, gw_params.use_dhcp, gw_params.host_ip,
		gw_params.host_port);
}

SYS_INIT(settings_backend_init, APPLICATION, 10);
```

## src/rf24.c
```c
/*
 * Copyright (c) 2026 Kabirz.
 * SPDX-License-Identifier: Apache-2.0
 *
 * nRF24L01P 接收模块 - 从 mod_handler 接收数据
 */

#include <zephyr/kernel.h>
#include <zephyr/device.h>
#include <zephyr/sys/byteorder.h>
#include <zephyr/logging/log.h>
#include <nrf24l01p.h>
#include <gateway.h>
#ifdef CONFIG_NRF24L01P_CRYPT
#include <nrf24_crypt.h>
#endif

LOG_MODULE_REGISTER(gw_rf24, LOG_LEVEL_INF);

#define RF24_PAYLOAD_MAX 32
#define RF24_ID_SIZE     2
#define RF24_TX_TIMEOUT  K_MSEC(100)
#define RF24_TX_RETRIES    5    /* 半双工冲突退避重试次数 (指数退避) */

static const struct device *rf24_dev = DEVICE_DT_GET(DT_NODELABEL(nrf24));
static K_MUTEX_DEFINE(rf24_tx_mutex);

/* RX 帧 msgq */
K_MSGQ_DEFINE(rf24_rx_msgq, sizeof(struct nrf24_frame), 8, 4);

/* ================================================================
 * RF24 配置
 * ================================================================ */
void gw_rf24_set_config(const uint8_t *addr)
{
	memcpy(gw_params.rf24_addr, addr, RF24_ADDR_LEN);

#ifdef CONFIG_NRF24L01P_CRYPT
	/* 地址变更时更新加密密钥 (5B addr 派生) */
	nrf24_crypt_set_key(addr);
#endif

	if (!device_is_ready(rf24_dev)) {
		return;
	}

	struct nrf24_cfg cfg = {
		.channel = RF24_FIXED_CH,
		.address_width = RF24_ADDR_LEN,
		.tx_addr = gw_params.rf24_addr,
	};

	nrf24_configure(rf24_dev, &cfg);
	nrf24_start_rx(rf24_dev);

	LOG_INF("RF24 config: ch=%d addr=%02x%02x%02x%02x%02x", RF24_FIXED_CH, addr[0], addr[1],
		addr[2], addr[3], addr[4]);
}

/* ================================================================
 * RF24 初始化
 * ================================================================ */
void gw_rf24_init(void)
{
	if (!device_is_ready(rf24_dev)) {
		LOG_ERR("nRF24 device not ready");
		gw_led_error_on();   /* 关键硬件初始化失败, 点亮错误灯 */
		return;
	}

	/* 应用配置 */
	gw_rf24_set_config(gw_params.rf24_addr);

	/* 注册 msgq */
	nrf24_add_rx_msgq(rf24_dev, &rf24_rx_msgq);

	/* 进入 PRX 接收模式 */
	int ret = nrf24_start_rx(rf24_dev);

	if (ret != 0) {
		LOG_ERR("nRF24 start RX failed: %d", ret);
		gw_led_error_on();
		return;
	}
	LOG_INF("nRF24 ready (PRX, ch=%d)", RF24_FIXED_CH);
}

/* ================================================================
 * RF24 发送 (向 mod_handler 发送数据)
 * ================================================================ */
bool gw_rf24_send(uint16_t can_id, const uint8_t *data, size_t len)
{
	if (!device_is_ready(rf24_dev)) {
		return false;
	}
#ifdef CONFIG_NRF24L01P_CRYPT
	/* 加密: [ctr 1B][CAN_ID 2B][payload] ≤ 32 → payload ≤ 29 */
	if (len > RF24_PAYLOAD_MAX - RF24_ID_SIZE - 1) {
		return false;
	}
#else
	if (len > RF24_PAYLOAD_MAX - RF24_ID_SIZE) {
		return false;
	}
#endif

	uint8_t buf[RF24_PAYLOAD_MAX];

	sys_put_be16(can_id, buf);
	if (len > 0) {
		memcpy(buf + RF24_ID_SIZE, data, len);
	}

	uint8_t frame_len = (uint8_t)(len + RF24_ID_SIZE);

#ifdef CONFIG_NRF24L01P_CRYPT
	/* 原地加密: buf 从 [CAN_ID][data] 变为 [ctr][ciphertext], 长度 +1 */
	frame_len = nrf24_crypt_seal(buf, frame_len);
	if (frame_len == 0) {
		return false;
	}
#endif

	struct nrf24_tx_result result;

	/* 半双工冲突退避重试: 双向自发通信时两边可能同时切 PTX, 互相收不到
	 * ACK → MAX_RT 双失败. 失败后指数退避再重试, 打破同步避免再次撞车.
	 * 退避窗口随重试次数翻倍 (3/7/15/31/63ms 上限), 高冲突时逐步拉开
	 * 间距, 比固定窗口更易躲开对端连续 PTX. 退避在 mutex 外, 让出空隙. */
	int ret;

	for (int attempt = 0; ; attempt++) {
		k_mutex_lock(&rf24_tx_mutex, K_FOREVER);
		ret = nrf24_send(rf24_dev, buf, frame_len, RF24_TX_TIMEOUT, &result);
		k_mutex_unlock(&rf24_tx_mutex);

		if (ret == 0 || attempt >= RF24_TX_RETRIES) {
			break;
		}
		/* 指数退避: attempt 0→上限3ms, 1→7, 2→15, 3→31, 4→63; 加 1ms 下限 */
		uint32_t backoff = 1 + (k_uptime_get_32() % ((1U << (attempt + 1)) + 1));

		k_msleep(backoff);
	}

	if (ret != 0) {
		LOG_WRN("nRF24 send failed (id=0x%03x ret=%d tries=%d)", can_id, ret,
			RF24_TX_RETRIES + 1);
		return false;
	}

	if (gw_params.log) {
		LOG_INF("TX id=0x%03x len=%zu acked=%d retrans=%d", can_id, len,
			result.acked, result.retransmits);
	}

	gw_led_rf24_activity();   /* 标记 2.4G 发送活动 (零阻塞) */
	return true;
}

/* ================================================================
 * RF24 接收线程
 * ================================================================ */
static void rf24_rx_thread(void)
{
	if (!device_is_ready(rf24_dev)) {
		LOG_ERR("nRF24 device not ready, RX thread exit");
		return;
	}

	struct nrf24_frame frame;

	while (1) {
		if (k_msgq_get(&rf24_rx_msgq, &frame, K_MSEC(200)) != 0) {
			continue;
		}
		if (frame.len < RF24_ID_SIZE) {
			continue;
		}

#ifdef CONFIG_NRF24L01P_CRYPT
		/* 原地解密: [ctr][ciphertext] → [CAN_ID][plaintext], 长度 -1.
		 * 窗口外/重放帧返回 0, 静默丢弃. */
		uint8_t pt_len = nrf24_crypt_open(frame.data, frame.len);
		if (pt_len == 0) {
			continue;
		}
		frame.len = pt_len;
#endif

		gw_led_rf24_activity();   /* 标记 2.4G 接收活动 (零阻塞) */

		uint16_t can_id = sys_get_be16(frame.data);
		uint8_t data_len = frame.len - RF24_ID_SIZE;
		const uint8_t *data = frame.data + RF24_ID_SIZE;

		if (gw_params.log) {
			LOG_INF("RX id=0x%03x len=%d", can_id, data_len);
		}

		/* 测试帧 (TEST_FRAME): 交给 rf24_shell 处理 (ping/echo/data) */
		if (can_id == TEST_FRAME) {
			rf24_test_handle_rx(data, data_len);
			continue;
		}

		/* 只转发 HANDLER_STATE 和心跳帧 */
		if (can_id != HANDLER_STATE && can_id != COBID_HEATBEAT) {
			continue;
		}

		/* nRF24 数据通过 UDP 转发给上位机 */
		gw_udp_send(frame.data, frame.len);
	}
}

K_THREAD_DEFINE(thread_rf24_rx, CONFIG_GATEWAY_RF24_RX_STACK, rf24_rx_thread, NULL, NULL, NULL,
		CONFIG_GATEWAY_RF24_RX_PRIORITY, 0, 0);
```
